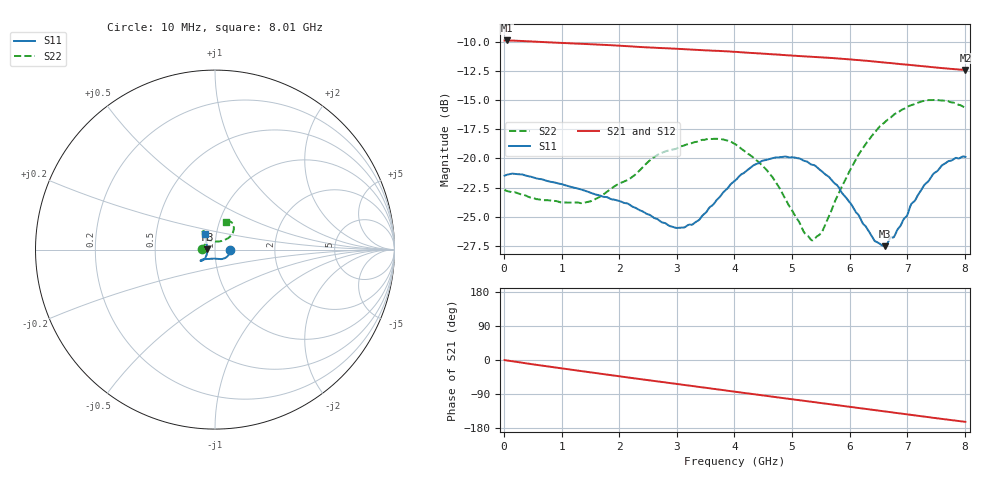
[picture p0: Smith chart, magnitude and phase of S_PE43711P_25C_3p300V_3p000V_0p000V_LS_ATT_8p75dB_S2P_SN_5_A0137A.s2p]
! Device ID: PE43711P
! File Path: z:\PE43711P\CHAR_NOM_04282014\AMB\3p300\LS_ATT_8p75dB\PE43711P_AMB_3p300V_3p000V_0p000V_LS_ATT_8p75dB_S2P_SN_5_A0137A.s2p
! Serial: 5
! Lot: A0137A
! Temp: 25C
! VDD: 3.300
! VSS: 0.000
! Control_Hi: 3.000
! Control_Lo: 0.000
! Attenuation Step: 8.75dB
! Port 1: RF1
! Port 2: RF2
! ThroughPath:1-2
! IDD: 0.0001273791
! ISS: -1.619e-007
#  Hz  S  RI  R  50
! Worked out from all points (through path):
!   801 points, 10 MHz to 8.01 GHz, reference 50 ohm
!   highest |S21| = -9.88 dB at 50 MHz (marker M1); lowest = -12.4 dB at 8.01 GHz (marker M2)
!   group delay of S21, straight-line fit = 56.3 ps
!   lowest |S11| = -27.5 dB at 6.61 GHz (marker M3), VSWR 1.09, Z = 46 + j0.195 ohm
!   |S11| at or under -10 dB: start of sweep to end of sweep
!   |S22| runs from -27.0 to -15.0 dB; largest |S21 - S12| = 0.00054
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1e7  0.0844 -0.000217  0.3205 -0.00156  0.3208 -0.00159  -0.0734 0.000603
5e7  0.0851 -0.00179  0.3206 -0.00675  0.3208 -0.00671  -0.0726 0.00209
1.35e9  0.0564 -0.0471  0.2703 -0.1523  0.2706 -0.1525  -0.0565 0.0308
2.18e9  0.0345 -0.0532  0.2076 -0.2202  0.2079 -0.2203  -0.0458 0.0678
2.68e9  0.0182 -0.0515  0.1634 -0.249  0.1635 -0.2492  -0.047 0.0931
2.99e9  0.00323 -0.0503  0.1341 -0.2633  0.1342 -0.2634  -0.051 0.0976
3.28e9  -0.0131 -0.0506  0.1053 -0.2729  0.1055 -0.2731  -0.0564 0.1023
3.68e9  -0.0399 -0.0524  0.0655 -0.2818  0.0654 -0.282  -0.0677 0.1008
4.01e9  -0.0596 -0.0537  0.0316 -0.2848  0.0314 -0.2849  -0.0734 0.0889
4.34e9  -0.0745 -0.0568  -0.00162 -0.283  -0.00164 -0.2832  -0.066 0.0755
4.69e9  -0.0802 -0.0608  -0.0358 -0.2771  -0.0359 -0.2771  -0.0519 0.0622
5.21e9  -0.0753 -0.0623  -0.0834 -0.261  -0.0835 -0.2613  -0.0127 0.0465
5.35e9  -0.0721 -0.0602  -0.0956 -0.2555  -0.0957 -0.2557  0.00114 0.0446
5.54e9  -0.0657 -0.0572  -0.1117 -0.2469  -0.1117 -0.247  0.0209 0.045
6.16e9  -0.0476 -0.0312  -0.159 -0.2109  -0.1591 -0.2109  0.079 0.068
6.43e9  -0.0428 -0.0119  -0.1758 -0.192  -0.176 -0.1922  0.0956 0.0868
6.61e9  -0.042 0.00212  -0.1856 -0.179  -0.1856 -0.1792  0.1011 0.1011
6.68e9  -0.0437 0.00901  -0.1891 -0.1739  -0.1891 -0.174  0.1029 0.1068
7.05e9  -0.0479 0.0395  -0.2054 -0.1453  -0.2053 -0.1454  0.1036 0.1331
7.45e9  -0.0542 0.0664  -0.2183 -0.1137  -0.2184 -0.1137  0.0891 0.1541
7.7e9  -0.0572 0.0781  -0.2241 -0.0938  -0.224 -0.0937  0.0752 0.1595
8.01e9  -0.055 0.0854  -0.2292 -0.0692  -0.2293 -0.0687  0.0607 0.1532
